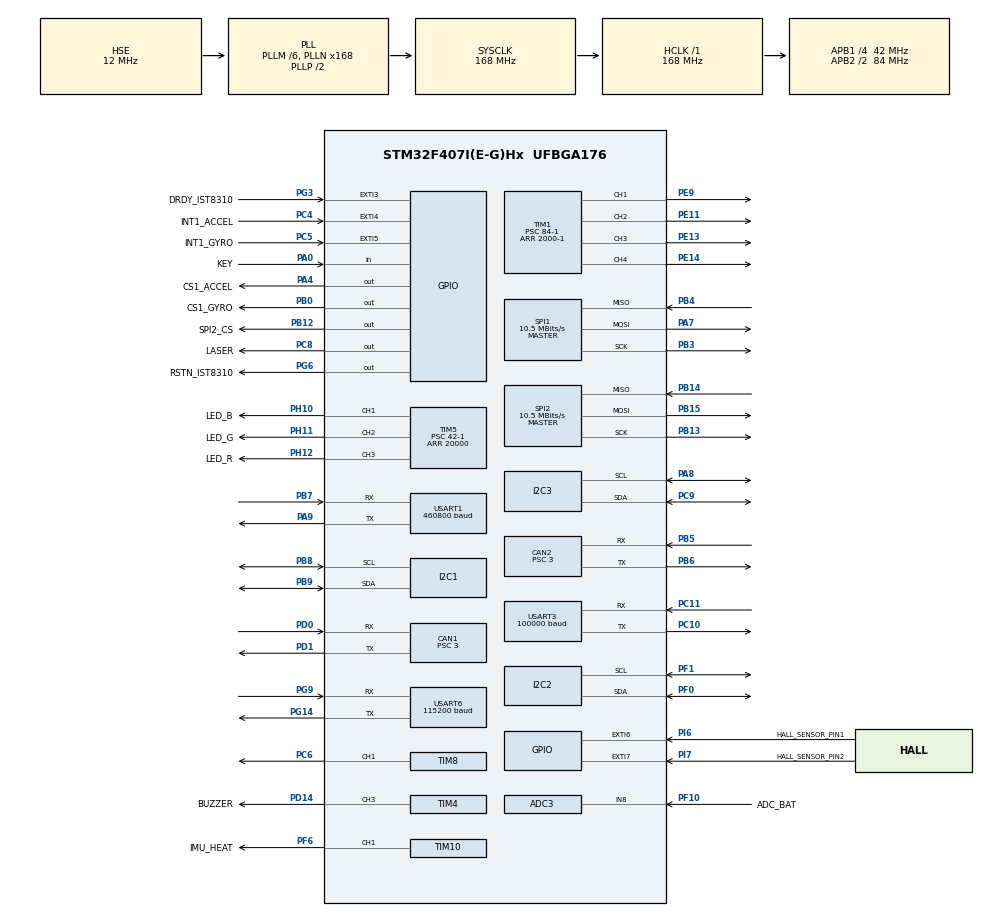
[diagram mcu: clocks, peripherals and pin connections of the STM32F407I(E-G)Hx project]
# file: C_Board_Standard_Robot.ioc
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ADC1.Channel-0\#ChannelRegularConversion=ADC_CHANNEL_TEMPSENSOR
ADC1.ClockPrescaler=ADC_CLOCK_SYNC_PCLK_DIV6
ADC1.NbrOfConversionFlag=1
ADC1.Rank-0\#ChannelRegularConversion=1
ADC1.SamplingTime-0\#ChannelRegularConversion=ADC_SAMPLETIME_3CYCLES
ADC1.master=1
ADC3.Channel-0\#ChannelRegularConversion=ADC_CHANNEL_8
ADC3.ClockPrescaler=ADC_CLOCK_SYNC_PCLK_DIV6
ADC3.NbrOfConversionFlag=1
ADC3.Rank-0\#ChannelRegularConversion=1
ADC3.SamplingTime-0\#ChannelRegularConversion=ADC_SAMPLETIME_3CYCLES
CAN1.BS1=CAN_BS1_10TQ
CAN1.BS2=CAN_BS2_3TQ
CAN1.CalculateBaudRate=1000000
CAN1.CalculateTimeQuantum=71.42857142857143
CAN1.Prescaler=3
CAN2.BS1=CAN_BS1_10TQ
CAN2.BS2=CAN_BS2_3TQ
CAN2.CalculateBaudRate=1000000
CAN2.CalculateTimeQuantum=71.42857142857143
CAN2.Prescaler=3
Dma.I2C2_TX.2.Direction=DMA_MEMORY_TO_PERIPH
Dma.I2C2_TX.2.FIFOMode=DMA_FIFOMODE_DISABLE
Dma.I2C2_TX.2.Instance=DMA1_Stream7
Dma.I2C2_TX.2.MemDataAlignment=DMA_MDATAALIGN_BYTE
Dma.I2C2_TX.2.MemInc=DMA_MINC_ENABLE
Dma.I2C2_TX.2.Mode=DMA_NORMAL
Dma.I2C2_TX.2.PeriphDataAlignment=DMA_PDATAALIGN_BYTE
Dma.I2C2_TX.2.PeriphInc=DMA_PINC_DISABLE
Dma.I2C2_TX.2.Priority=DMA_PRIORITY_HIGH
Dma.Request0=SPI1_RX
Dma.Request1=SPI1_TX
Dma.Request2=I2C2_TX
Dma.Request3=USART3_RX
Dma.Request4=USART6_TX
Dma.Request5=USART1_TX
Dma.Request6=USART1_RX
Dma.Request7=USART6_RX
Dma.SPI1_RX.0.Direction=DMA_PERIPH_TO_MEMORY
Dma.SPI1_RX.0.FIFOMode=DMA_FIFOMODE_DISABLE
Dma.SPI1_RX.0.Instance=DMA2_Stream2
Dma.SPI1_RX.0.MemDataAlignment=DMA_MDATAALIGN_BYTE
Dma.SPI1_RX.0.MemInc=DMA_MINC_ENABLE
Dma.SPI1_RX.0.Mode=DMA_NORMAL
Dma.SPI1_RX.0.PeriphDataAlignment=DMA_PDATAALIGN_BYTE
Dma.SPI1_RX.0.PeriphInc=DMA_PINC_DISABLE
Dma.SPI1_RX.0.Priority=DMA_PRIORITY_VERY_HIGH
Dma.SPI1_TX.1.Direction=DMA_MEMORY_TO_PERIPH
Dma.SPI1_TX.1.FIFOMode=DMA_FIFOMODE_DISABLE
Dma.SPI1_TX.1.Instance=DMA2_Stream3
Dma.SPI1_TX.1.MemDataAlignment=DMA_MDATAALIGN_BYTE
Dma.SPI1_TX.1.MemInc=DMA_MINC_ENABLE
Dma.SPI1_TX.1.Mode=DMA_NORMAL
Dma.SPI1_TX.1.PeriphDataAlignment=DMA_PDATAALIGN_BYTE
Dma.SPI1_TX.1.PeriphInc=DMA_PINC_DISABLE
Dma.SPI1_TX.1.Priority=DMA_PRIORITY_HIGH
Dma.USART1_RX.6.Direction=DMA_PERIPH_TO_MEMORY
Dma.USART1_RX.6.FIFOMode=DMA_FIFOMODE_DISABLE
Dma.USART1_RX.6.Instance=DMA2_Stream5
Dma.USART1_RX.6.MemDataAlignment=DMA_MDATAALIGN_BYTE
Dma.USART1_RX.6.MemInc=DMA_MINC_ENABLE
Dma.USART1_RX.6.Mode=DMA_CIRCULAR
Dma.USART1_RX.6.PeriphDataAlignment=DMA_PDATAALIGN_BYTE
Dma.USART1_RX.6.PeriphInc=DMA_PINC_DISABLE
Dma.USART1_RX.6.Priority=DMA_PRIORITY_LOW
Dma.USART1_TX.5.Direction=DMA_MEMORY_TO_PERIPH
Dma.USART1_TX.5.FIFOMode=DMA_FIFOMODE_DISABLE
Dma.USART1_TX.5.Instance=DMA2_Stream7
Dma.USART1_TX.5.MemDataAlignment=DMA_MDATAALIGN_BYTE
Dma.USART1_TX.5.MemInc=DMA_MINC_ENABLE
Dma.USART1_TX.5.Mode=DMA_NORMAL
Dma.USART1_TX.5.PeriphDataAlignment=DMA_PDATAALIGN_BYTE
Dma.USART1_TX.5.PeriphInc=DMA_PINC_DISABLE
Dma.USART1_TX.5.Priority=DMA_PRIORITY_MEDIUM
Dma.USART3_RX.3.Direction=DMA_PERIPH_TO_MEMORY
Dma.USART3_RX.3.FIFOMode=DMA_FIFOMODE_DISABLE
Dma.USART3_RX.3.Instance=DMA1_Stream1
Dma.USART3_RX.3.MemDataAlignment=DMA_MDATAALIGN_BYTE
Dma.USART3_RX.3.MemInc=DMA_MINC_ENABLE
Dma.USART3_RX.3.Mode=DMA_CIRCULAR
Dma.USART3_RX.3.PeriphDataAlignment=DMA_PDATAALIGN_BYTE
Dma.USART3_RX.3.PeriphInc=DMA_PINC_DISABLE
Dma.USART3_RX.3.Priority=DMA_PRIORITY_HIGH
Dma.USART6_RX.7.Direction=DMA_PERIPH_TO_MEMORY
Dma.USART6_RX.7.FIFOMode=DMA_FIFOMODE_DISABLE
Dma.USART6_RX.7.Instance=DMA2_Stream1
Dma.USART6_RX.7.MemDataAlignment=DMA_MDATAALIGN_BYTE
Dma.USART6_RX.7.MemInc=DMA_MINC_ENABLE
Dma.USART6_RX.7.Mode=DMA_CIRCULAR
Dma.USART6_RX.7.PeriphDataAlignment=DMA_PDATAALIGN_BYTE
Dma.USART6_RX.7.PeriphInc=DMA_PINC_DISABLE
Dma.USART6_RX.7.Priority=DMA_PRIORITY_LOW
Dma.USART6_TX.4.Direction=DMA_MEMORY_TO_PERIPH
Dma.USART6_TX.4.FIFOMode=DMA_FIFOMODE_DISABLE
Dma.USART6_TX.4.Instance=DMA2_Stream6
Dma.USART6_TX.4.MemDataAlignment=DMA_MDATAALIGN_BYTE
Dma.USART6_TX.4.MemInc=DMA_MINC_ENABLE
Dma.USART6_TX.4.Mode=DMA_NORMAL
Dma.USART6_TX.4.PeriphDataAlignment=DMA_PDATAALIGN_BYTE
Dma.USART6_TX.4.PeriphInc=DMA_PINC_DISABLE
Dma.USART6_TX.4.Priority=DMA_PRIORITY_MEDIUM
FREERTOS.INCLUDE_eTaskGetState=1
FREERTOS.INCLUDE_pcTaskGetTaskName=1
FREERTOS.INCLUDE_uxTaskGetStackHighWaterMark=1
FREERTOS.INCLUDE_vTaskCleanUpResources=1
FREERTOS.INCLUDE_vTaskDelayUntil=1
FREERTOS.INCLUDE_xEventGroupSetBitFromISR=1
FREERTOS.INCLUDE_xQueueGetMutexHolder=1
FREERTOS.INCLUDE_xSemaphoreGetMutexHolder=1
FREERTOS.INCLUDE_xTaskAbortDelay=1
FREERTOS.INCLUDE_xTaskGetCurrentTaskHandle=1
FREERTOS.INCLUDE_xTaskGetHandle=1
FREERTOS.INCLUDE_xTimerPendFunctionCall=1
FREERTOS.Tasks01=GimbalTask,2,512,StartGimbalTask,Default,NULL,Dynamic,NULL,NULL;INSTask,1,512,StartINSTask,Default,NULL,Dynamic,NULL,NULL;DetectTask,-1,512,StartDetectTask,Default,NULL,Dynamic,NULL,NULL;PowerMeasureTas,0,512,StartPowerMeasureTask,Default,NULL,Dynamic,NULL,NULL;UITask,0,512,StartUITask,Default,NULL,Dynamic,NULL,NULL;ChassisTask,1,512,StartChassisTask,Default,NULL,Dynamic,NULL,NULL
FREERTOS.configTOTAL_HEAP_SIZE=24576
I2C1.I2C_Mode=I2C_Fast
I2C2.I2C_Mode=I2C_Fast
I2C3.I2C_Mode=I2C_Fast
IWDG.Prescaler=IWDG_PRESCALER_32
IWDG.Reload=1000
Mcu.Family=STM32F4
Mcu.Name=STM32F407I(E-G)Hx
Mcu.Package=UFBGA176
NVIC.CAN1_RX0_IRQn=true\:6\:0\:true\:false\:true\:false\:true\:true\:true
NVIC.CAN2_RX0_IRQn=true\:6\:0\:true\:false\:true\:false\:true\:true\:true
NVIC.DMA1_Stream1_IRQn=true\:5\:0\:true\:false\:false\:false\:false\:false\:true
NVIC.DMA1_Stream7_IRQn=true\:5\:0\:true\:false\:false\:false\:false\:true\:true
NVIC.DMA2_Stream1_IRQn=true\:5\:0\:false\:false\:true\:true\:false\:true\:true
NVIC.DMA2_Stream2_IRQn=true\:5\:0\:true\:false\:false\:false\:false\:true\:true
NVIC.DMA2_Stream3_IRQn=true\:5\:0\:true\:false\:false\:false\:false\:true\:true
NVIC.DMA2_Stream5_IRQn=true\:5\:0\:false\:false\:true\:true\:false\:true\:true
NVIC.DMA2_Stream6_IRQn=true\:5\:0\:true\:false\:true\:false\:false\:true\:true
NVIC.DMA2_Stream7_IRQn=true\:5\:0\:true\:false\:true\:false\:false\:true\:true
NVIC.EXTI3_IRQn=true\:5\:0\:true\:false\:true\:false\:true\:true\:true
NVIC.EXTI4_IRQn=true\:5\:0\:true\:false\:true\:false\:true\:true\:true
NVIC.EXTI9_5_IRQn=true\:5\:0\:true\:false\:true\:false\:true\:true\:true
NVIC.PriorityGroup=NVIC_PRIORITYGROUP_4
NVIC.TIM2_IRQn=true\:0\:0\:false\:false\:true\:false\:false\:true\:true
NVIC.TimeBase=TIM2_IRQn
NVIC.TimeBaseIP=TIM2
NVIC.USART1_IRQn=true\:5\:0\:false\:false\:true\:false\:true\:true\:true
NVIC.USART3_IRQn=true\:4\:0\:true\:false\:true\:false\:true\:true\:true
NVIC.USART6_IRQn=true\:5\:0\:true\:false\:true\:false\:true\:true\:true
PA0-WKUP.GPIO_Label=KEY
PA0-WKUP.GPIO_PuPd=GPIO_PULLUP
PA0-WKUP.Signal=GPIO_Input
PA13.Mode=Serial_Wire
PA13.Signal=SYS_JTMS-SWDIO
PA14.Mode=Serial_Wire
PA14.Signal=SYS_JTCK-SWCLK
PA4.GPIO_Label=CS1_ACCEL
PA4.GPIO_PuPd=GPIO_PULLUP
PA4.GPIO_Speed=GPIO_SPEED_FREQ_HIGH
PA4.PinState=GPIO_PIN_SET
PA4.Signal=GPIO_Output
PA7.GPIO_PuPd=GPIO_PULLUP
PA7.Mode=Full_Duplex_Master
PA7.Signal=SPI1_MOSI
PA8.GPIO_Pu=GPIO_PULLUP
PA8.Mode=I2C
PA8.Signal=I2C3_SCL
PA9.Mode=Asynchronous
PA9.Signal=USART1_TX
PB0.GPIO_Label=CS1_GYRO
PB0.GPIO_PuPd=GPIO_PULLUP
PB0.GPIO_Speed=GPIO_SPEED_FREQ_HIGH
PB0.PinState=GPIO_PIN_SET
PB0.Signal=GPIO_Output
PB12.GPIO_Label=SPI2_CS
PB12.GPIO_PuPd=GPIO_PULLUP
PB12.GPIO_Speed=GPIO_SPEED_FREQ_MEDIUM
PB12.PinState=GPIO_PIN_SET
PB12.Signal=GPIO_Output
PB13.GPIO_PuPd=GPIO_PULLUP
PB13.Mode=Full_Duplex_Master
PB13.Signal=SPI2_SCK
PB14.GPIO_PuPd=GPIO_PULLUP
PB14.Mode=Full_Duplex_Master
PB14.Signal=SPI2_MISO
PB15.GPIO_PuPd=GPIO_PULLUP
PB15.Mode=Full_Duplex_Master
PB15.Signal=SPI2_MOSI
PB3.GPIO_PuPd=GPIO_PULLUP
PB3.Mode=Full_Duplex_Master
PB3.Signal=SPI1_SCK
PB4.GPIO_PuPd=GPIO_PULLUP
PB4.Mode=Full_Duplex_Master
PB4.Signal=SPI1_MISO
PB5.Mode=CAN_Activate
PB5.Signal=CAN2_RX
PB6.Mode=CAN_Activate
PB6.Signal=CAN2_TX
PB7.Mode=Asynchronous
PB7.Signal=USART1_RX
PB8.GPIO_Pu=GPIO_PULLUP
PB8.Mode=I2C
PB8.Signal=I2C1_SCL
PB9.GPIO_Pu=GPIO_PULLUP
PB9.Mode=I2C
PB9.Signal=I2C1_SDA
PC10.Mode=Asynchronous
PC10.Signal=USART3_TX
PC11.Mode=Asynchronous
PC11.Signal=USART3_RX
PC4.GPIO_Label=INT1_ACCEL
PC4.GPIO_ModeDefaultEXTI=GPIO_MODE_IT_FALLING
PC4.GPIO_PuPd=GPIO_PULLUP
PC4.Signal=GPXTI4
PC5.GPIO_Label=INT1_GYRO
PC5.GPIO_ModeDefaultEXTI=GPIO_MODE_IT_FALLING
PC5.GPIO_PuPd=GPIO_PULLUP
PC5.Signal=GPXTI5
PC6.GPIO_PuPd=GPIO_PULLUP
PC6.GPIO_Speed=GPIO_SPEED_FREQ_HIGH
PC6.Signal=S_TIM8_CH1
PC8.GPIO_Label=LASER
PC8.Signal=GPIO_Output
PC9.GPIO_Pu=GPIO_PULLUP
PC9.Mode=I2C
PC9.Signal=I2C3_SDA
PD0.Mode=CAN_Activate
PD0.Signal=CAN1_RX
PD1.Mode=CAN_Activate
PD1.Signal=CAN1_TX
PD14.GPIO_Label=BUZZER
PD14.GPIO_PuPd=GPIO_PULLUP
PD14.GPIO_Speed=GPIO_SPEED_FREQ_VERY_HIGH
PD14.Signal=S_TIM4_CH3
PE11.GPIO_PuPd=GPIO_PULLUP
PE11.GPIO_Speed=GPIO_SPEED_FREQ_HIGH
PE11.Signal=S_TIM1_CH2
PE13.GPIO_PuPd=GPIO_PULLUP
PE13.GPIO_Speed=GPIO_SPEED_FREQ_HIGH
PE13.Signal=S_TIM1_CH3
PE14.GPIO_PuPd=GPIO_PULLUP
PE14.GPIO_Speed=GPIO_SPEED_FREQ_HIGH
PE14.Signal=S_TIM1_CH4
PE9.GPIO_PuPd=GPIO_PULLUP
PE9.GPIO_Speed=GPIO_SPEED_FREQ_HIGH
PE9.Signal=S_TIM1_CH1
PF0.GPIO_Pu=GPIO_PULLUP
PF0.Mode=I2C
PF0.Signal=I2C2_SDA
PF1.GPIO_Pu=GPIO_PULLUP
PF1.Mode=I2C
PF1.Signal=I2C2_SCL
PF10.GPIO_Label=ADC_BAT
PF10.Mode=IN8
PF10.Signal=ADC3_IN8
PF6.GPIO_Label=IMU_HEAT
PF6.GPIO_PuPd=GPIO_PULLUP
PF6.GPIO_Speed=GPIO_SPEED_FREQ_HIGH
PF6.Signal=S_TIM10_CH1
PG14.Mode=Asynchronous
PG14.Signal=USART6_TX
PG3.GPIO_Label=DRDY_IST8310
PG3.GPIO_ModeDefaultEXTI=GPIO_MODE_IT_FALLING
PG3.GPIO_PuPd=GPIO_PULLUP
PG3.Signal=GPXTI3
PG6.GPIO_Label=RSTN_IST8310
PG6.GPIO_PuPd=GPIO_PULLUP
PG6.GPIO_Speed=GPIO_SPEED_FREQ_MEDIUM
PG6.PinState=GPIO_PIN_SET
PG6.Signal=GPIO_Output
PG9.Mode=Asynchronous
PG9.Signal=USART6_RX
PH0-OSC_IN.Mode=HSE-External-Oscillator
PH0-OSC_IN.Signal=RCC_OSC_IN
PH1-OSC_OUT.Mode=HSE-External-Oscillator
PH1-OSC_OUT.Signal=RCC_OSC_OUT
PH10.GPIO_Label=LED_B
PH10.GPIO_PuPd=GPIO_PULLUP
PH10.GPIO_Speed=GPIO_SPEED_FREQ_HIGH
PH10.Signal=S_TIM5_CH1
PH11.GPIO_Label=LED_G
PH11.GPIO_PuPd=GPIO_PULLUP
PH11.GPIO_Speed=GPIO_SPEED_FREQ_HIGH
PH11.Signal=S_TIM5_CH2
PH12.GPIO_Label=LED_R
PH12.GPIO_PuPd=GPIO_PULLUP
PH12.GPIO_Speed=GPIO_SPEED_FREQ_HIGH
PH12.Signal=S_TIM5_CH3
PI6.GPIO_Label=HALL_SENSOR_PIN1
PI6.Signal=GPXTI6
PI7.GPIO_Label=HALL_SENSOR_PIN2
PI7.Signal=GPXTI7
ProjectManager.HeapSize=0x2000
ProjectManager.StackSize=0x2000
ProjectManager.TargetToolchain=Makefile
RCC.48MHZClocksFreq_Value=48000000
RCC.AHBFreq_Value=168000000
RCC.APB1CLKDivider=RCC_HCLK_DIV4
RCC.APB1Freq_Value=42000000
RCC.APB1TimFreq_Value=84000000
RCC.APB2CLKDivider=RCC_HCLK_DIV2
RCC.APB2Freq_Value=84000000
RCC.APB2TimFreq_Value=168000000
RCC.CortexFreq_Value=168000000
RCC.HCLKFreq_Value=168000000
RCC.HSE_VALUE=12000000
RCC.HSI_VALUE=16000000
RCC.LSE_VALUE=32768
RCC.PLLM=6
RCC.PLLN=168
RCC.PLLQ=7
RCC.PLLSourceVirtual=RCC_PLLSOURCE_HSE
RCC.RCC_RTC_Clock_SourceVirtual=RCC_RTCCLKSOURCE_HSE_DIV30
RCC.RCC_RTC_Clock_Source_FROM_HSE=RCC_RTCCLKSOURCE_HSE_DIV30
RCC.SYSCLKFreq_VALUE=168000000
RCC.SYSCLKSource=RCC_SYSCLKSOURCE_PLLCLK
RCC.VCOOutputFreq_Value=336000000
SH.S_TIM10_CH1.0=TIM10_CH1,PWM Generation1 CH1
SH.S_TIM1_CH1.0=TIM1_CH1,PWM Generation1 CH1
SH.S_TIM1_CH2.0=TIM1_CH2,PWM Generation2 CH2
SH.S_TIM1_CH3.0=TIM1_CH3,PWM Generation3 CH3
SH.S_TIM1_CH4.0=TIM1_CH4,PWM Generation4 CH4
SH.S_TIM4_CH3.0=TIM4_CH3,PWM Generation3 CH3
SH.S_TIM5_CH1.0=TIM5_CH1,PWM Generation1 CH1
SH.S_TIM5_CH2.0=TIM5_CH2,PWM Generation2 CH2
SH.S_TIM5_CH3.0=TIM5_CH3,PWM Generation3 CH3
SH.S_TIM8_CH1.0=TIM8_CH1,PWM Generation1 CH1
SPI1.BaudRatePrescaler=SPI_BAUDRATEPRESCALER_8
SPI1.CLKPhase=SPI_PHASE_2EDGE
SPI1.CLKPolarity=SPI_POLARITY_HIGH
SPI1.CalculateBaudRate=10.5 MBits/s
SPI1.Direction=SPI_DIRECTION_2LINES
SPI1.Mode=SPI_MODE_MASTER
SPI1.VirtualType=VM_MASTER
SPI2.BaudRatePrescaler=SPI_BAUDRATEPRESCALER_4
SPI2.CLKPhase=SPI_PHASE_2EDGE
SPI2.CLKPolarity=SPI_POLARITY_HIGH
SPI2.CalculateBaudRate=10.5 MBits/s
SPI2.Direction=SPI_DIRECTION_2LINES
SPI2.Mode=SPI_MODE_MASTER
SPI2.VirtualType=VM_MASTER
TIM1.Channel-PWM\ Generation1\ CH1=TIM_CHANNEL_1
TIM1.Channel-PWM\ Generation2\ CH2=TIM_CHANNEL_2
TIM1.Channel-PWM\ Generation3\ CH3=TIM_CHANNEL_3
TIM1.Channel-PWM\ Generation4\ CH4=TIM_CHANNEL_4
TIM1.Period=2000-1
TIM1.Prescaler=84-1
TIM1.Pulse-PWM\ Generation1\ CH1=1000
TIM1.Pulse-PWM\ Generation2\ CH2=1000
TIM1.Pulse-PWM\ Generation3\ CH3=1000
TIM1.Pulse-PWM\ Generation4\ CH4=1000
TIM10.Channel=TIM_CHANNEL_1
TIM10.Period=2000-1
TIM10.Prescaler=84-1
TIM3.Period=8399
TIM4.Channel-PWM\ Generation3\ CH3=TIM_CHANNEL_3
TIM4.Period=20000-1
TIM4.Prescaler=42-1
TIM5.Channel-PWM\ Generation1\ CH1=TIM_CHANNEL_1
TIM5.Channel-PWM\ Generation2\ CH2=TIM_CHANNEL_2
TIM5.Channel-PWM\ Generation3\ CH3=TIM_CHANNEL_3
TIM5.Period=20000
TIM5.Prescaler=42-1
TIM8.Channel-PWM\ Generation1\ CH1=TIM_CHANNEL_1
TIM8.Period=20000-1
TIM8.Prescaler=89-1
TIM8.Pulse-PWM\ Generation1\ CH1=1000
USART1.BaudRate=460800
USART1.VirtualMode=VM_ASYNC
USART3.BaudRate=100000
USART3.Parity=PARITY_EVEN
USART3.VirtualMode=VM_ASYNC
USART6.BaudRate=115200
USART6.VirtualMode=VM_ASYNC
VP_ADC1_TempSens_Input.Mode=IN-TempSens
VP_ADC1_Vref_Input.Mode=IN-Vrefint
VP_FREERTOS_VS_CMSIS_V1.Mode=CMSIS_V1
VP_IWDG_VS_IWDG.Mode=IWDG_Activate
VP_SYS_VS_tim2.Mode=TIM2
VP_TIM10_VS_ClockSourceINT.Mode=Enable_Timer
VP_TIM1_VS_ClockSourceINT.Mode=Internal
VP_TIM3_VS_ClockSourceINT.Mode=Internal
VP_TIM4_VS_ClockSourceINT.Mode=Internal
VP_TIM5_VS_ClockSourceINT.Mode=Internal
VP_TIM8_VS_ClockSourceINT.Mode=Internal
board=custom

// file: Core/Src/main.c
/* USER CODE BEGIN Header */
/**
 ******************************************************************************
 * @file           : main.c
 * @brief          : Main program body
 ******************************************************************************
 */
/* USER CODE END Header */
#include "main.h"
#include "cmsis_os.h"
#include "adc.h"
#include "can.h"
#include "dma.h"
#include "i2c.h"
#include "iwdg.h"
#include "spi.h"
#include "tim.h"
#include "usart.h"
#include "gpio.h"

/* USER CODE BEGIN Includes */
#include "bsp_CAN.h"
#include "bsp_dwt.h"
#include "remote_control.h"
#include "BMI088driver.h"
/* USER CODE END Includes */

/* USER CODE BEGIN PV */
uint32_t timeStamp[50] = {0};
/* USER CODE END PV */

void SystemClock_Config(void);
void MX_FREERTOS_Init(void);

int main(void)
{
  HAL_Init();
  SystemClock_Config();

  /* Initialize all configured peripherals */
  MX_GPIO_Init();
  MX_DMA_Init();
  MX_ADC1_Init();
  MX_ADC3_Init();
  MX_CAN1_Init();
  MX_CAN2_Init();
  MX_I2C1_Init();
  MX_SPI1_Init();
  MX_TIM4_Init();
  MX_TIM5_Init();
  MX_USART3_UART_Init();
  MX_TIM8_Init();
  MX_I2C2_Init();
  MX_I2C3_Init();
  MX_SPI2_Init();
  MX_TIM1_Init();
  MX_TIM3_Init();
  MX_TIM10_Init();
  MX_USART1_UART_Init();
  MX_USART6_UART_Init();

  /* USER CODE BEGIN 2 */
  DWT_Init(168);
  HAL_Delay(800);
  while (BMI088_init(&hspi1) != BMI088_NO_ERROR)
    ;
  CAN_Device_Init();
  Remote_Control_Init(&huart3);
  /* USER CODE END 2 */

  MX_FREERTOS_Init();
  osKernelStart();

  while (1)
  {
  }
}

void SystemClock_Config(void)
{
  RCC_OscInitTypeDef RCC_OscInitStruct = {0};
  RCC_ClkInitTypeDef RCC_ClkInitStruct = {0};

  __HAL_RCC_PWR_CLK_ENABLE();
  __HAL_PWR_VOLTAGESCALING_CONFIG(PWR_REGULATOR_VOLTAGE_SCALE1);

  RCC_OscInitStruct.OscillatorType = RCC_OSCILLATORTYPE_LSI | RCC_OSCILLATORTYPE_HSE;
  RCC_OscInitStruct.HSEState = RCC_HSE_ON;
  RCC_OscInitStruct.LSIState = RCC_LSI_ON;
  RCC_OscInitStruct.PLL.PLLState = RCC_PLL_ON;
  RCC_OscInitStruct.PLL.PLLSource = RCC_PLLSOURCE_HSE;
  RCC_OscInitStruct.PLL.PLLM = 6;
  RCC_OscInitStruct.PLL.PLLN = 168;
  RCC_OscInitStruct.PLL.PLLP = RCC_PLLP_DIV2;
  RCC_OscInitStruct.PLL.PLLQ = 7;
  if (HAL_RCC_OscConfig(&RCC_OscInitStruct) != HAL_OK)
  {
    Error_Handler();
  }

  RCC_ClkInitStruct.ClockType = RCC_CLOCKTYPE_HCLK | RCC_CLOCKTYPE_SYSCLK | RCC_CLOCKTYPE_PCLK1 | RCC_CLOCKTYPE_PCLK2;
  RCC_ClkInitStruct.SYSCLKSource = RCC_SYSCLKSOURCE_PLLCLK;
  RCC_ClkInitStruct.AHBCLKDivider = RCC_SYSCLK_DIV1;
  RCC_ClkInitStruct.APB1CLKDivider = RCC_HCLK_DIV4;
  RCC_ClkInitStruct.APB2CLKDivider = RCC_HCLK_DIV2;

  if (HAL_RCC_ClockConfig(&RCC_ClkInitStruct, FLASH_LATENCY_5) != HAL_OK)
  {
    Error_Handler();
  }
}

void HAL_TIM_PeriodElapsedCallback(TIM_HandleTypeDef *htim)
{
  if (htim->Instance == TIM2)
  {
    HAL_IncTick();
  }
}

void Error_Handler(void)
{
}

/************************ (C) COPYRIGHT STMicroelectronics *****END OF FILE****/

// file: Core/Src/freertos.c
/* USER CODE BEGIN Header */
/**
 ******************************************************************************
 * File Name          : freertos.c
 * Description        : Code for freertos applications
 ******************************************************************************
 */
/* USER CODE END Header */

#include "FreeRTOS.h"
#include "task.h"
#include "main.h"
#include "cmsis_os.h"

/* USER CODE BEGIN Includes */
#include "can.h"
#include "iwdg.h"
#include "remote_control.h"
#include "chassis_task.h"
#include "bsp_CAN.h"
#include "detect_task.h"
#include "ins_task.h"
/* USER CODE END Includes */

osThreadId ChassisTaskHandle;
osThreadId DetectTaskHandle;
osThreadId INSTaskHandle;

void StartChassisTask(void const *argument);      /* 底盘任务 */
void StartDetectTask(void const *argument);       /* 离线检测任务 */
void StartINSTask(void const *argument);          /* IMU姿态任务 */

void MX_FREERTOS_Init(void);

/* GetIdleTaskMemory prototype (linked to static allocation support) */
void vApplicationGetIdleTaskMemory(StaticTask_t **ppxIdleTaskTCBBuffer, StackType_t **ppxIdleTaskStackBuffer, uint32_t *pulIdleTaskStackSize);

/* GetTimerTaskMemory prototype (linked to static allocation support) */
void vApplicationGetTimerTaskMemory(StaticTask_t **ppxTimerTaskTCBBuffer, StackType_t **ppxTimerTaskStackBuffer, uint32_t *pulTimerTaskStackSize);

/* USER CODE BEGIN GET_IDLE_TASK_MEMORY */
static StaticTask_t xIdleTaskTCBBuffer;
static StackType_t xIdleStack[configMINIMAL_STACK_SIZE];

void vApplicationGetIdleTaskMemory(StaticTask_t **ppxIdleTaskTCBBuffer, StackType_t **ppxIdleTaskStackBuffer, uint32_t *pulIdleTaskStackSize)
{
  *ppxIdleTaskTCBBuffer = &xIdleTaskTCBBuffer;
  *ppxIdleTaskStackBuffer = &xIdleStack[0];
  *pulIdleTaskStackSize = configMINIMAL_STACK_SIZE;
}
/* USER CODE END GET_IDLE_TASK_MEMORY */

/* USER CODE BEGIN GET_TIMER_TASK_MEMORY */
static StaticTask_t xTimerTaskTCBBuffer;
static StackType_t xTimerStack[configTIMER_TASK_STACK_DEPTH];

void vApplicationGetTimerTaskMemory(StaticTask_t **ppxTimerTaskTCBBuffer, StackType_t **ppxTimerTaskStackBuffer, uint32_t *pulTimerTaskStackSize)
{
  *ppxTimerTaskTCBBuffer = &xTimerTaskTCBBuffer;
  *ppxTimerTaskStackBuffer = &xTimerStack[0];
  *pulTimerTaskStackSize = configTIMER_TASK_STACK_DEPTH;
}
/* USER CODE END GET_TIMER_TASK_MEMORY */

void MX_FREERTOS_Init(void)
{
  /* definition and creation of INSTask */
  osThreadDef(INSTask, StartINSTask, osPriorityAboveNormal, 0, 512);
  INSTaskHandle = osThreadCreate(osThread(INSTask), NULL);

  /* definition and creation of DetectTask */
  osThreadDef(DetectTask, StartDetectTask, osPriorityBelowNormal, 0, 512);
  DetectTaskHandle = osThreadCreate(osThread(DetectTask), NULL);

  /* definition and creation of ChassisTask */
  osThreadDef(ChassisTask, StartChassisTask, osPriorityAboveNormal, 0, 512);
  ChassisTaskHandle = osThreadCreate(osThread(ChassisTask), NULL);
}

void StartINSTask(void const *argument)
{
  INS_Init();
  for (;;)
  {
    INS_Task();
    osDelay(INS_TASK_PERIOD);
  }
}

void StartDetectTask(void const *argument)
{
  Detect_Task_Init();
  for (;;)
  {
    Detect_Task();
    osDelay(DETECT_TASK_PERIOD);
  }
}

void StartChassisTask(void const *argument)
{
  osDelay(1000);
  Chassis_Init();

  for (;;)
  {
    Chassis_Control();
    osDelay(CHASSIS_TASK_PERIOD);
  }
}

/************************ (C) COPYRIGHT STMicroelectronics *****END OF FILE****/
